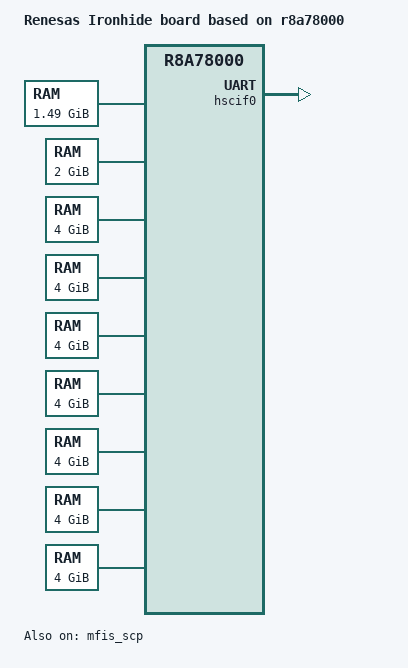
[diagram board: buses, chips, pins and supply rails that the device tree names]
// SPDX-License-Identifier: (GPL-2.0-only OR BSD-2-Clause)
/*
 * Device Tree Source for the Ironhide board
 *
 * Copyright (C) 2025 Renesas Electronics Corp.
 */

/dts-v1/;
#include <dt-bindings/soc/renesas,r8a78000-mfis.h>
#include "r8a78000.dtsi"

/ {
	model = "Renesas Ironhide board based on r8a78000";
	compatible = "renesas,ironhide", "renesas,r8a78000";

	aliases {
		serial0 = &hscif0;
	};

	chosen {
		stdout-path = "serial0:1843200n8";
	};

	firmware {
		scmi: scmi {
			compatible = "arm,scmi";
			mboxes = <&mfis_scp 2 MFIS_CHANNEL_TX>, <&mfis_scp 2 MFIS_CHANNEL_RX>;
			mbox-names = "tx", "rx";
			shmem = <&scmi_tx_shmem>, <&scmi_rx_shmem>;
			arm,no-completion-irq;
			#address-cells = <1>;
			#size-cells = <0>;

			scmi_clk: protocol@14 {
				reg = <0x14>;
				#clock-cells = <1>;
			};
		};
	};

	memory@60600000 {
		device_type = "memory";
		/* first 518MiB is reserved for other purposes. */
		reg = <0x0 0x60600000 0x0 0x5fa00000>;
	};

	memory@1080000000 {
		device_type = "memory";
		reg = <0x10 0x80000000 0x0 0x80000000>;
	};

	memory@1200000000 {
		device_type = "memory";
		reg = <0x12 0x00000000 0x1 0x00000000>;
	};

	memory@1400000000 {
		device_type = "memory";
		reg = <0x14 0x00000000 0x1 0x00000000>;
	};

	memory@1600000000 {
		device_type = "memory";
		reg = <0x16 0x00000000 0x1 0x00000000>;
	};

	memory@1800000000 {
		device_type = "memory";
		reg = <0x18 0x00000000 0x1 0x00000000>;
	};

	memory@1a00000000 {
		device_type = "memory";
		reg = <0x1a 0x00000000 0x1 0x00000000>;
	};

	memory@1c00000000 {
		device_type = "memory";
		reg = <0x1c 0x00000000 0x1 0x00000000>;
	};

	memory@1e00000000 {
		device_type = "memory";
		reg = <0x1e 0x00000000 0x1 0x00000000>;
	};
};

&extal_clk {
	clock-frequency = <16666600>;
};

&extalr_clk {
	clock-frequency = <32768>;
};

&hscif0 {
	uart-has-rtscts;
	status = "okay";
};

&mfis_scp {
	status = "okay";
};

&scif_clk {
	clock-frequency = <26000000>;
};

&stcm_transport {
	scmi_tx_shmem: sram@1200 {
		compatible = "arm,scmi-shmem";
		reg = <0x1200 0x0100>;
	};

	scmi_rx_shmem: sram@1300 {
		compatible = "arm,scmi-shmem";
		reg = <0x1300 0x100>;
	};
};
